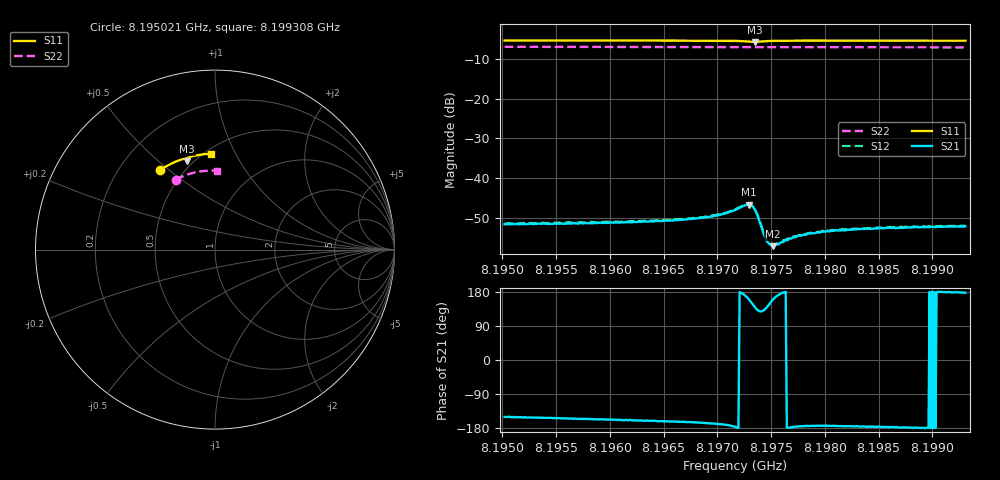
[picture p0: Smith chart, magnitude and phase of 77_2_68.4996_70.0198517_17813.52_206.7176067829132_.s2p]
#  HZ  S  RI  R  50.00
! Rohde & Schwarz Vector Network Analyzer
! Rohde-Schwarz,ZNB20-2Port,1311601062101988,3.16
! Created: UTC 3/20/2024, 4:51:59 PM
! freq[Hz]  re:S11  im:S11  re:S21  im:S21  re:S12  im:S12  re:S22  im:S22
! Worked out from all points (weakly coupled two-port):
!   401 points, 8.195021 GHz to 8.199308 GHz, reference 50 ohm
!   highest |S21| = -46.64 dB at 8.197293 GHz (marker M1); lowest = -57.1 dB at 8.197518 GHz (marker M2)
!   lowest |S11| = -5.7 dB at 8.197347 GHz (marker M3), VSWR 3.14, Z = 23.3 + j31.2 ohm
!   |S11| at or under -10 dB: nowhere
!   |S22| runs from -7.1 to -7.0 dB; largest |S21 - S12| = 0.00025
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8.195021e9  -0.3066 0.4421  -0.00228 -0.00131  -0.00237 -0.00128  -0.2194 0.3899
8.1957392e9  -0.2632 0.4685  -0.00246 -0.00112  -0.00257 -0.00106  -0.1832 0.4072
8.1964573e9  -0.2167 0.4909  -0.00274 -0.000928  -0.0028 -0.000829  -0.1455 0.4208
8.1968753e9  -0.1874 0.5017  -0.00311 -0.000785  -0.00317 -0.000657  -0.1227 0.4271
8.1970039e9  -0.1774 0.5045  -0.00334 -0.00068  -0.00346 -0.000533  -0.1157 0.429
8.1971647e9  -0.1629 0.506  -0.00394 -0.000259  -0.00405 -9.84e-05  -0.1069 0.4309
8.1972612e9  -0.1532 0.5017  -0.0045 0.000834  -0.00455 0.00104  -0.1016 0.4318
8.1972933e9  -0.1515 0.4978  -0.00437 0.00159  -0.00437 0.00178  -0.0998 0.4321
8.1973255e9  -0.1527 0.4938  -0.00377 0.00233  -0.00375 0.00252  -0.098 0.4323
8.1973469e9  -0.1553 0.4924  -0.00313 0.0026  -0.00307 0.00277  -0.0969 0.4325
8.1973791e9  -0.1593 0.4938  -0.00213 0.00245  -0.00205 0.00261  -0.0954 0.4328
8.197422e9  -0.1613 0.4991  -0.00141 0.00168  -0.00134 0.00179  -0.0931 0.4335
8.1974541e9  -0.16 0.5031  -0.00125 0.00118  -0.00121 0.00124  -0.0911 0.4339
8.1974863e9  -0.1579 0.5062  -0.00125 0.000777  -0.00125 0.000837  -0.0895 0.4342
8.1975184e9  -0.1554 0.5086  -0.00131 0.000472  -0.00136 0.000533  -0.0877 0.4345
8.197572e9  -0.1508 0.5115  -0.00146 0.000199  -0.00149 0.00028  -0.0848 0.435
8.1976256e9  -0.1465 0.5136  -0.00164 4.16e-05  -0.00165 0.000113  -0.0818 0.4356
8.1977328e9  -0.1381 0.5168  -0.00181 -0.000143  -0.00186 -6.56e-05  -0.0758 0.4365
8.1978829e9  -0.1266 0.5201  -0.00202 -0.000223  -0.00204 -0.000152  -0.0672 0.4376
8.1980758e9  -0.1125 0.5233  -0.00216 -0.000253  -0.00222 -0.000139  -0.0565 0.4388
8.198601e9  -0.0748 0.5296  -0.00238 -8.2e-05  -0.00241 -4.12e-05  -0.0269 0.4407
8.1993084e9  -0.0246 0.5335  -0.00248 0.000112  -0.0025 0.000206  0.013 0.4401
